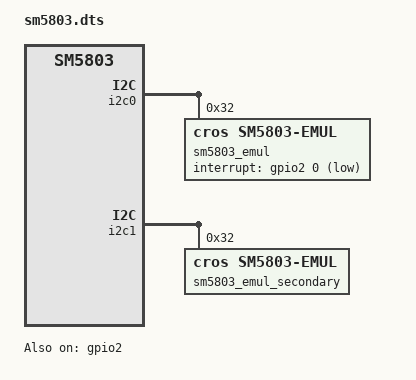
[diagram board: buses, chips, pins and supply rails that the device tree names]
/* Copyright 2023 The ChromiumOS Authors
 * Use of this source code is governed by a BSD-style license that can be
 * found in the LICENSE file.
 */

/ {
	usbc {
		port0@0 {
			compatible = "named-usbc-port";
			chg = <&sm5803_emul>;
		};

		port1@1 {
		  compatible = "named-usbc-port";
		  chg = <&sm5803_emul_secondary>;
		};
	};

	gpio2: gpio@2000 {
		status = "okay";
		compatible = "zephyr,gpio-emul";
		reg = <0x2000 0x4>;
		falling-edge;
		gpio-controller;
		#gpio-cells = <2>;
		ngpios = <1>;
	};
};

&i2c0 {
	sm5803_emul: sm5803@32 {
		compatible = "cros,sm5803-emul", "siliconmitus,sm5803";
		status = "okay";
		reg = <0x32>;
		interrupt-gpios = <&gpio2 0 (GPIO_ACTIVE_LOW)>;
	};
};

&i2c1 {
  sm5803_emul_secondary: sm5803-secondary@32 {
		compatible = "cros,sm5803-emul", "siliconmitus,sm5803";
		status = "okay";
		reg = <0x32>;
	};
};

&default_battery {
	ship_mode_reg_data = <0x2000>;
};
